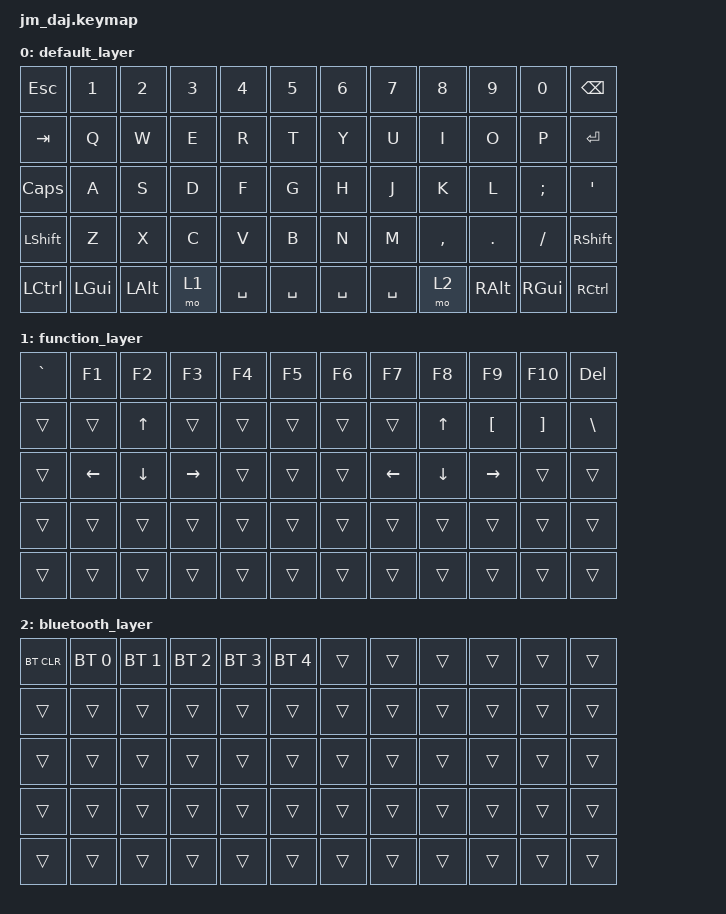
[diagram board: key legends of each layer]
/*
 * Copyright (c) 2025 JmDajer
 *
 * SPDX-License-Identifier: MIT
 */

#include <behaviors.dtsi>
#include <dt-bindings/zmk/keys.h>
#include <dt-bindings/zmk/bt.h>

/ {
    keymap {
        compatible = "zmk,keymap";

        default_layer {
            bindings = <
                &kp ESC   &kp N1    &kp N2    &kp N3    &kp N4    &kp N5    &kp N6    &kp N7    &kp N8    &kp N9    &kp N0    &kp BSPC
                &kp TAB   &kp Q     &kp W     &kp E     &kp R     &kp T     &kp Y     &kp U     &kp I     &kp O     &kp P     &kp ENTER
                &kp CAPS  &kp A     &kp S     &kp D     &kp F     &kp G     &kp H     &kp J     &kp K     &kp L     &kp SEMI  &kp SQT
                &kp LSHFT &kp Z     &kp X     &kp C     &kp V     &kp B     &kp N     &kp M     &kp COMMA &kp DOT   &kp SLASH &kp RSHFT
                &kp LCTRL &kp LGUI  &kp LALT  &mo 1     &kp SPACE &kp SPACE &kp SPACE &kp SPACE &mo 2     &kp RALT  &kp RGUI  &kp RCTRL
            >;
        };

        function_layer {
            bindings = <
                &kp GRAVE &kp F1    &kp F2    &kp F3    &kp F4    &kp F5    &kp F6    &kp F7    &kp F8    &kp F9    &kp F10   &kp DEL
                &trans    &trans    &kp UP    &trans    &trans    &trans    &trans    &trans    &kp UP    &kp LBKT  &kp RBKT  &kp BSLH
                &trans    &kp LEFT  &kp DOWN  &kp RIGHT &trans    &trans    &trans    &kp LEFT  &kp DOWN  &kp RIGHT &trans    &trans
                &trans    &trans    &trans    &trans    &trans    &trans    &trans    &trans    &trans    &trans    &trans    &trans
                &trans    &trans    &trans    &trans    &trans    &trans    &trans    &trans    &trans    &trans    &trans    &trans
            >;
        };

        bluetooth_layer {
            bindings = <
                &bt BT_CLR &bt BT_SEL 0 &bt BT_SEL 1 &bt BT_SEL 2 &bt BT_SEL 3 &bt BT_SEL 4 &trans &trans &trans &trans &trans &trans
                &trans     &trans       &trans       &trans       &trans       &trans       &trans &trans &trans &trans &trans &trans
                &trans     &trans       &trans       &trans       &trans       &trans       &trans &trans &trans &trans &trans &trans
                &trans     &trans       &trans       &trans       &trans       &trans       &trans &trans &trans &trans &trans &trans
                &trans     &trans       &trans       &trans       &trans       &trans       &trans &trans &trans &trans &trans &trans
            >;
        };
    };
};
